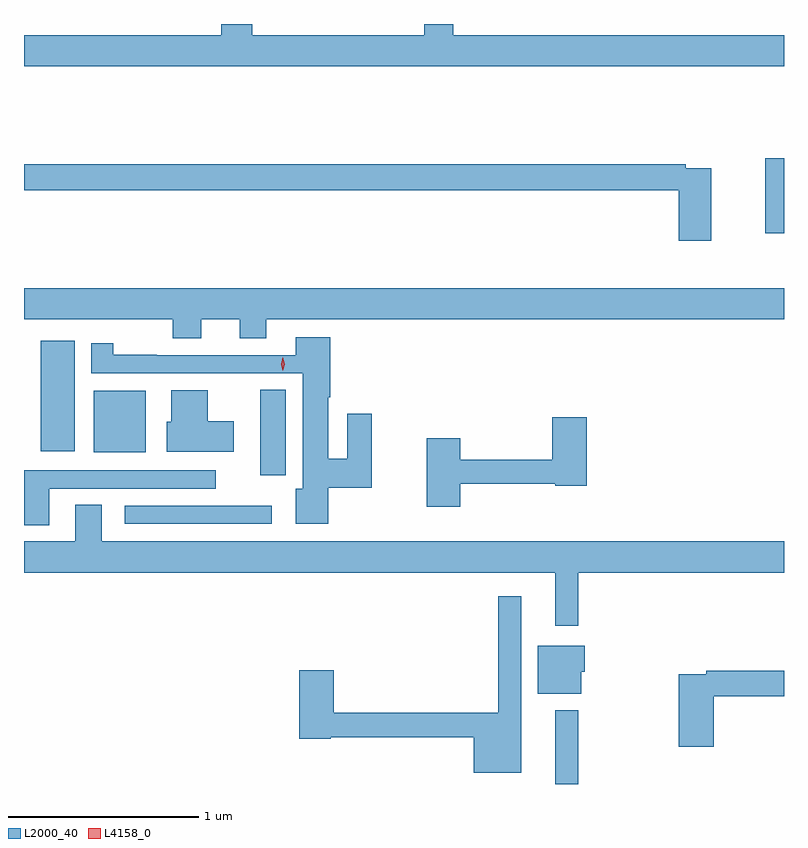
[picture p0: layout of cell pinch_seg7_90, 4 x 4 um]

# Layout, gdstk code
import gdstk
lib = gdstk.Library(unit=1e-6, precision=1e-09)
def R(c, l, rs):  # rectangles x0, y0, x1, y1
    for r in rs: c.add(gdstk.rectangle(r[:2], r[2:], *l))
def P(c, l, *ps):  # polygons
    for p in ps: c.add(gdstk.Polygon(p, *l))
L2000_40 = (2000, 40)
L4158_0 = (4158, 0)

pinch_seg7_90 = lib.new_cell('pinch_seg7_90')
R(pinch_seg7_90, L2000_40, [(966.989,1023.479,967.111,1023.868), (964.725,1024.848,965.497,1024.944), (965.438,1025.103,965.572,1025.555), (964.562,1025.225,964.834,1025.548), (964.283,1025.231,964.462,1025.812), (968.096,1026.378,968.194,1026.772)])
P(pinch_seg7_90, L2000_40, [(968.194,1027.42),(966.452,1027.42),(966.452,1027.479),(966.301,1027.479),(966.301,1027.42),(965.396,1027.42),(965.396,1027.479),(965.231,1027.479),(965.231,1027.42),(964.194,1027.42),(964.194,1027.256),(968.194,1027.256)],
  [(967.81,1026.72),(967.676,1026.72),(967.676,1026.74),(964.194,1026.74),(964.194,1026.604),(967.64,1026.604),(967.64,1026.339),(967.81,1026.339)],
  [(965.128,1025.924),(965.33,1025.924),(965.33,1025.825),(965.47,1025.825),(965.47,1025.924),(968.194,1025.924),(968.194,1026.088),(964.194,1026.088),(964.194,1025.924),(964.976,1025.924),(964.976,1025.825),(965.128,1025.825)],
  [(965.794,1025.039),(966.024,1025.039),(966.024,1025.428),(965.894,1025.428),(965.894,1025.192),(965.794,1025.192),(965.794,1025.515),(965.807,1025.515),(965.807,1025.83),(965.624,1025.83),(965.624,1025.736),(964.892,1025.736),(964.892,1025.738),(964.665,1025.738),(964.665,1025.8),(964.547,1025.8),(964.547,1025.64),(965.66,1025.64),(965.66,1025.032),(965.624,1025.032),(965.624,1024.85),(965.794,1024.85)],
  [(965.299,1025.389),(965.161,1025.389),(965.161,1025.551),(964.97,1025.551),(964.97,1025.385),(964.946,1025.385),(964.946,1025.228),(965.299,1025.228)],
  [(966.491,1025.058),(966.99,1025.058),(966.99,1025.05),(967.157,1025.05),(967.157,1025.41),(966.974,1025.41),(966.974,1025.186),(966.491,1025.186),(966.491,1025.299),(966.313,1025.299),(966.313,1024.938),(966.491,1024.938)],
  [(964.327,1025.034),(965.203,1025.034),(965.203,1025.13),(964.194,1025.13),(964.194,1024.842),(964.327,1024.842)],
  [(967.111,1024.592),(968.194,1024.592),(968.194,1024.756),(964.603,1024.756),(964.603,1024.949),(964.463,1024.949),(964.463,1024.756),(964.194,1024.756),(964.194,1024.592),(966.989,1024.592),(966.989,1024.311),(967.111,1024.311)],
  [(966.811,1024.468),(966.69,1024.468),(966.69,1023.854),(965.825,1023.854),(965.825,1024.078),(965.642,1024.078),(965.642,1023.718),(965.808,1023.718),(965.808,1023.726),(966.56,1023.726),(966.56,1023.539),(966.811,1023.539)],
  [(967.126,1024.071),(967.144,1024.071),(967.144,1024.207),(966.899,1024.207),(966.899,1023.953),(967.126,1023.953)],
  [(967.823,1023.94),(968.194,1023.94),(968.194,1024.076),(967.786,1024.076),(967.786,1024.056),(967.64,1024.056),(967.64,1023.675),(967.823,1023.675)])
P(pinch_seg7_90, L4158_0, [(965.557,1025.653),(965.557,1025.653),(965.547,1025.689),(965.556,1025.725),(965.556,1025.725),(965.556,1025.725),(965.566,1025.689),(965.557,1025.653)])

lib.write_gds('pinch_seg7_90.gds')
